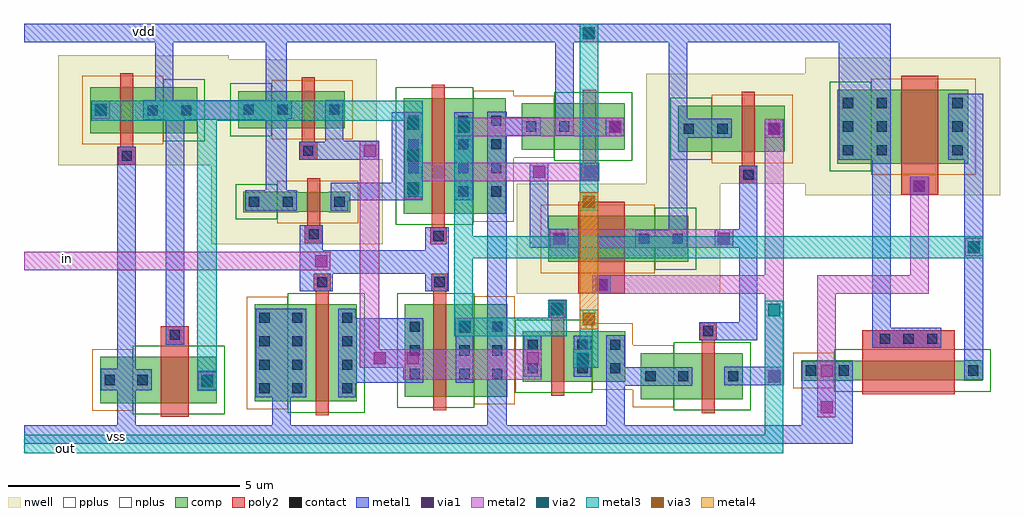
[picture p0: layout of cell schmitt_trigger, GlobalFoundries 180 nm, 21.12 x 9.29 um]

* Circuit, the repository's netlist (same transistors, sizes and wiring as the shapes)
* NGSPICE file created from schmitt_trigger.ext - technology: gf180mcuD

.subckt pfet a_38_n60# a_n92_0# w_n230_n138#
X0 w_n230_n138# a_38_n60# a_n92_0# w_n230_n138# pfet_03v3 ad=1.38p pd=4.76u as=0.65p ps=3.3u w=1u l=1u
.ends

.subckt pfet$6 a_n92_0# a_28_220# w_n230_n138#
X0 w_n230_n138# a_28_220# a_n92_0# w_n230_n138# pfet_03v3 ad=1.104p pd=4.36u as=0.52p ps=2.9u w=0.8u l=0.28u
.ends

.subckt pfet$4 a_n92_0# a_28_260# w_n230_n138#
X0 w_n230_n138# a_28_260# a_n92_0# w_n230_n138# pfet_03v3 ad=1.38p pd=4.76u as=0.65p ps=3.3u w=1u l=0.28u
.ends

.subckt nfet$7 a_30_260# a_n84_0# a_94_0#
X0 a_94_0# a_30_260# a_n84_0# a_94_0# nfet_03v3 ad=1.32p pd=4.64u as=0.61p ps=3.22u w=1u l=0.28u
.ends

.subckt nfet$5 a_n84_0# a_94_0# a_30_460#
X0 a_94_0# a_30_460# a_n84_0# a_94_0# nfet_03v3 ad=2.64p pd=6.64u as=1.22p ps=5.22u w=2u l=0.28u
.ends

.subckt pfet$9 a_38_n60# a_n92_0# w_n230_n138#
X0 w_n230_n138# a_38_n60# a_n92_0# w_n230_n138# pfet_03v3 ad=2.208p pd=5.96u as=1.04p ps=4.5u w=1.6u l=0.8u
.ends

.subckt pfet$7 a_28_144# w_n232_n142# a_n92_n2#
X0 w_n232_n142# a_28_144# a_n92_n2# w_n232_n142# pfet_03v3 ad=0.6034p pd=3.64u as=0.2822p ps=2.18u w=0.42u l=0.28u
.ends

.subckt nfet a_30_280# a_n84_0# a_94_0#
X0 a_94_0# a_30_280# a_n84_0# a_94_0# nfet_03v3 ad=1.452p pd=4.84u as=0.671p ps=3.42u w=1.1u l=0.28u
.ends

.subckt nfet$8 a_38_n60# a_158_0# a_n84_0#
X0 a_158_0# a_38_n60# a_n84_0# a_158_0# nfet_03v3 ad=1.32p pd=4.64u as=0.61p ps=3.22u w=1u l=0.6u
.ends

.subckt nfet$6 a_n84_0# a_94_0# a_30_480#
X0 a_94_0# a_30_480# a_n84_0# a_94_0# nfet_03v3 ad=2.772p pd=6.84u as=1.281p ps=5.42u w=2.1u l=0.28u
.ends

.subckt nfet$10 a_n84_n2# a_38_n60# a_438_0#
X0 a_438_0# a_38_n60# a_n84_n2# a_438_0# nfet_03v3 ad=0.577p pd=3.52u as=0.2646p ps=2.1u w=0.42u l=2u
.ends

.subckt nfet$4 a_32_260# a_98_0# a_n84_0#
X0 a_98_0# a_32_260# a_n84_0# a_98_0# nfet_03v3 ad=1.32p pd=4.64u as=0.61p ps=3.22u w=1u l=0.3u
.ends

.subckt nfet$2 a_30_560# a_n84_0# a_94_0#
X0 a_94_0# a_30_560# a_n84_0# a_94_0# nfet_03v3 ad=3.3p pd=7.64u as=1.525p ps=6.22u w=2.5u l=0.28u
.ends

.subckt schmitt_trigger vss in out
Xpfet_0 out m3_n9961_n6054# vss pfet
Xpfet$6_0 m2_n8799_n7122# m2_n8799_n7122# vss pfet$6
Xpfet$4_0 m3_n9961_n6054# vss vss pfet$4
Xpfet$4_1 out m3_n9961_n6054# vss pfet$4
Xnfet$7_0 m3_n9961_n6054# out vss nfet$7
Xnfet$5_0 m2_n8799_n7122# vss in nfet$5
Xpfet$9_0 vss vss vss pfet$9
Xpfet$7_0 in vss m3_n9961_n6054# pfet$7
Xnfet_0 vss m2_n8799_n7122# vss nfet
Xnfet$8_0 vss vss m3_n9961_n6054# nfet$8
Xnfet$6_0 m2_n8799_n7122# vss in nfet$6
Xnfet$10_0 vss vss vss nfet$10
Xnfet$4_0 m3_n9961_n6054# vss vss nfet$4
Xnfet$2_0 in m3_n9961_n6054# vss nfet$2
.ends

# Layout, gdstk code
from math import pi, radians
import gdstk
lib = gdstk.Library(unit=1e-6, precision=1e-09)
def R(c, l, rs):  # rectangles x0, y0, x1, y1
    for r in rs: c.add(gdstk.rectangle(r[:2], r[2:], *l))
def A(c, l, x, y, w, h, nx, ny, dx, dy):  # array of equal rectangles
    R(c, l, [(x+i*dx, y+j*dy, x+i*dx+w, y+j*dy+h) for i in range(nx) for j in range(ny)])
def P(c, l, *ps):  # polygons
    for p in ps: c.add(gdstk.Polygon(p, *l))
nwell = (21, 0)
comp = (22, 0)
poly2 = (30, 0)
pplus = (31, 0)
nplus = (32, 0)
contact = (33, 0)
metal1 = (34, 0)
via1 = (35, 0)
metal2 = (36, 0)
via2 = (38, 0)
via3 = (40, 0)
metal3 = (42, 0)
metal4 = (46, 0)

pfet_7 = lib.new_cell('pfet$7')
R(pfet_7, nwell, [(-1.16,-0.71,2.55,1.13)])
R(pfet_7, comp, [(-0.46,-0.01,0,0.43), (0.66,-0.01,1.12,0.43), (1.12,-0.01,1.85,0.43), (0,0,0.66,0.42)])
R(pfet_7, poly2, [(0.19,-0.3,0.47,0.72), (0.14,0.72,0.52,1.1)])
R(pfet_7, pplus, [(-0.63,-0.25,1.12,0.67)])
R(pfet_7, nplus, [(1.12,-0.17,2.02,0.59)])
R(pfet_7, contact, [(-0.34,0.1,-0.12,0.32), (0.78,0.1,1,0.32), (1.51,0.1,1.73,0.32), (0.22,0.8,0.44,1.02)])
R(pfet_7, metal1, [(-0.42,0.019,-0.04,0.401), (0.7,0.019,1.08,0.401), (1.43,0.019,1.81,0.401), (0.14,0.719,0.52,1.101)])

via_dev = lib.new_cell('via_dev')

nfet_2 = lib.new_cell('nfet$2')
R(nfet_2, comp, [(-0.42,0,0,2.5), (0,0,0.66,2.5), (0.66,0,1.08,2.5), (1.08,0,1.79,2.5)])
R(nfet_2, poly2, [(0.19,-0.3,0.47,2.8), (0.15,2.8,0.51,3.16)])
R(nfet_2, pplus, [(1.08,-0.17,1.96,2.67)])
R(nfet_2, nplus, [(-0.59,-0.24,1.08,2.74)])
A(nfet_2, contact, -0.32, 0.375, 0.22, 0.22, 1, 4, 0, 0.51)
A(nfet_2, contact, 0.76, 0.375, 0.22, 0.22, 1, 4, 0, 0.51)
A(nfet_2, contact, 1.47, 0.375, 0.22, 0.22, 1, 4, 0, 0.51)
R(nfet_2, contact, [(0.22,2.87,0.44,3.09)])
R(nfet_2, metal1, [(-0.4,0.295,-0.02,2.205), (0.68,0.295,1.06,2.205), (1.39,0.295,1.77,2.205), (0.14,2.789,0.52,3.171)])

nfet_5 = lib.new_cell('nfet$5')
R(nfet_5, comp, [(-0.42,0,0,2), (0,0,0.66,2), (0.66,0,1.08,2), (1.08,0,1.79,2)])
R(nfet_5, poly2, [(0.19,-0.3,0.47,2.3), (0.15,2.3,0.51,2.66)])
R(nfet_5, pplus, [(1.08,-0.17,1.96,2.17)])
R(nfet_5, nplus, [(-0.59,-0.24,1.08,2.24)])
A(nfet_5, contact, -0.32, 0.38, 0.22, 0.22, 1, 3, 0, 0.51)
A(nfet_5, contact, 0.76, 0.38, 0.22, 0.22, 1, 3, 0, 0.51)
A(nfet_5, contact, 1.47, 0.38, 0.22, 0.22, 1, 3, 0, 0.51)
R(nfet_5, contact, [(0.22,2.37,0.44,2.59)])
R(nfet_5, metal1, [(-0.4,0.3,-0.02,1.7), (0.68,0.3,1.06,1.7), (1.39,0.3,1.77,1.7), (0.14,2.289,0.52,2.671)])

nfet_6 = lib.new_cell('nfet$6')
R(nfet_6, comp, [(-0.42,0,0,2.1), (0,0,0.66,2.1), (0.66,0,1.08,2.1), (1.08,0,1.79,2.1)])
R(nfet_6, poly2, [(0.19,-0.3,0.47,2.4), (0.15,2.4,0.51,2.76)])
R(nfet_6, pplus, [(1.08,-0.17,1.96,2.27)])
R(nfet_6, nplus, [(-0.59,-0.24,1.08,2.34)])
A(nfet_6, contact, -0.32, 0.175, 0.22, 0.22, 1, 4, 0, 0.51)
A(nfet_6, contact, 0.76, 0.175, 0.22, 0.22, 1, 4, 0, 0.51)
A(nfet_6, contact, 1.47, 0.175, 0.22, 0.22, 1, 4, 0, 0.51)
R(nfet_6, contact, [(0.22,2.47,0.44,2.69)])
R(nfet_6, metal1, [(-0.4,0.095,-0.02,2.005), (0.68,0.095,1.06,2.005), (1.39,0.095,1.77,2.005), (0.14,2.389,0.52,2.771)])

nfet_4 = lib.new_cell('nfet$4')
R(nfet_4, comp, [(-0.42,0,0,1), (0,0,0.68,1), (0.68,0,1.1,1), (1.1,0,1.81,1)])
R(nfet_4, poly2, [(0.19,-0.3,0.49,1.3), (0.16,1.3,0.52,1.66)])
R(nfet_4, pplus, [(1.1,-0.17,1.98,1.17)])
R(nfet_4, nplus, [(-0.59,-0.24,1.1,1.24)])
R(nfet_4, contact, [(-0.32,0.39,-0.1,0.61), (0.78,0.39,1,0.61), (1.49,0.39,1.71,0.61), (0.23,1.37,0.45,1.59)])
R(nfet_4, metal1, [(-0.4,0.309,-0.02,0.691), (0.7,0.309,1.08,0.691), (1.41,0.309,1.79,0.691), (0.15,1.289,0.53,1.671)])

via_dev_4 = lib.new_cell('via_dev$4')
R(via_dev_4, metal1, [(0,0,0.4,0.4)])
R(via_dev_4, via1, [(0.07,0.07,0.33,0.33)])
R(via_dev_4, metal2, [(0,0,0.4,0.4)])
R(via_dev_4, via2, [(0.07,0.07,0.33,0.33)])
R(via_dev_4, metal3, [(0,0,0.4,0.4)])

pfet_4 = lib.new_cell('pfet$4')
R(pfet_4, nwell, [(-1.15,-0.69,2.54,1.69)])
R(pfet_4, comp, [(-0.46,0,0,1), (0,0,0.66,1), (0.66,0,1.12,1), (1.12,0,1.85,1)])
R(pfet_4, poly2, [(0.19,-0.3,0.47,1.3), (0.14,1.3,0.52,1.68)])
R(pfet_4, pplus, [(-0.63,-0.24,1.12,1.24)])
R(pfet_4, nplus, [(1.12,-0.17,2.02,1.17)])
R(pfet_4, contact, [(-0.34,0.39,-0.12,0.61), (0.78,0.39,1,0.61), (1.51,0.39,1.73,0.61), (0.22,1.38,0.44,1.6)])
R(pfet_4, metal1, [(-0.42,0.309,-0.04,0.691), (0.7,0.309,1.08,0.691), (1.43,0.309,1.81,0.691), (0.14,1.299,0.52,1.681)])

pfet = lib.new_cell('pfet')
R(pfet, nwell, [(-1.15,-0.69,3.26,1.69)])
R(pfet, comp, [(-0.46,0,0,1), (0,0,1.38,1), (1.38,0,1.84,1), (1.84,0,2.57,1)])
R(pfet, poly2, [(0.19,-0.3,1.19,1.3), (0.19,1.3,1.19,1.68)])
R(pfet, pplus, [(-0.63,-0.24,1.84,1.24)])
R(pfet, nplus, [(1.84,-0.17,2.74,1.17)])
R(pfet, contact, [(-0.34,0.39,-0.12,0.61), (1.5,0.39,1.72,0.61), (2.23,0.39,2.45,0.61), (0.58,1.38,0.8,1.6)])
R(pfet, metal1, [(-0.42,0.309,-0.04,0.691), (1.42,0.309,1.8,0.691), (2.15,0.309,2.53,0.691), (0.5,1.299,0.88,1.681)])

nfet = lib.new_cell('nfet')
R(nfet, comp, [(-0.42,0,0,1.1), (0,0,0.66,1.1), (0.66,0,1.08,1.1), (1.08,0,1.79,1.1)])
R(nfet, poly2, [(0.19,-0.3,0.47,1.4), (0.15,1.4,0.51,1.76)])
R(nfet, pplus, [(1.08,-0.17,1.96,1.27)])
R(nfet, nplus, [(-0.59,-0.24,1.08,1.34)])
R(nfet, contact, [(-0.32,0.185,-0.1,0.405), (0.76,0.185,0.98,0.405), (1.47,0.185,1.69,0.405), (-0.32,0.695,-0.1,0.915), (0.76,0.695,0.98,0.915), (1.47,0.695,1.69,0.915), (0.22,1.47,0.44,1.69)])
R(nfet, metal1, [(-0.4,0.105,-0.02,0.995), (0.68,0.105,1.06,0.995), (1.39,0.105,1.77,0.995), (0.14,1.389,0.52,1.771)])

via_dev_3 = lib.new_cell('via_dev$3')
R(via_dev_3, metal1, [(0,0,0.4,0.4)])
R(via_dev_3, via1, [(0.07,0.07,0.33,0.33)])
R(via_dev_3, metal2, [(0,0,0.4,0.4)])

via_dev_6 = lib.new_cell('via_dev$6')
R(via_dev_6, metal2, [(0,0,0.4,0.4)])
R(via_dev_6, via2, [(0.07,0.07,0.33,0.33)])
R(via_dev_6, metal3, [(0,0,0.4,0.4)])

nfet_7 = lib.new_cell('nfet$7')
R(nfet_7, comp, [(-0.42,0,0,1), (0,0,0.66,1), (0.66,0,1.08,1), (1.08,0,1.79,1)])
R(nfet_7, poly2, [(0.19,-0.3,0.47,1.3), (0.15,1.3,0.51,1.66)])
R(nfet_7, pplus, [(1.08,-0.17,1.96,1.17)])
R(nfet_7, nplus, [(-0.59,-0.24,1.08,1.24)])
R(nfet_7, contact, [(-0.32,0.39,-0.1,0.61), (0.76,0.39,0.98,0.61), (1.47,0.39,1.69,0.61), (0.22,1.37,0.44,1.59)])
R(nfet_7, metal1, [(-0.4,0.309,-0.02,0.691), (0.68,0.309,1.06,0.691), (1.39,0.309,1.77,0.691), (0.14,1.289,0.52,1.671)])

pfet_6 = lib.new_cell('pfet$6')
R(pfet_6, nwell, [(-1.15,-0.69,2.54,1.49)])
R(pfet_6, comp, [(-0.46,0,0,0.8), (0,0,0.66,0.8), (0.66,0,1.12,0.8), (1.12,0,1.85,0.8)])
R(pfet_6, poly2, [(0.19,-0.3,0.47,1.1), (0.14,1.1,0.52,1.48)])
R(pfet_6, pplus, [(-0.63,-0.24,1.12,1.04)])
R(pfet_6, nplus, [(1.12,-0.17,2.02,0.97)])
R(pfet_6, contact, [(-0.34,0.29,-0.12,0.51), (0.78,0.29,1,0.51), (1.51,0.29,1.73,0.51), (0.22,1.18,0.44,1.4)])
R(pfet_6, metal1, [(-0.42,0.209,-0.04,0.591), (0.7,0.209,1.08,0.591), (1.43,0.209,1.81,0.591), (0.14,1.099,0.52,1.481)])

nfet_8 = lib.new_cell('nfet$8')
R(nfet_8, comp, [(-0.42,0,0,1), (0,0,0.98,1), (0.98,0,1.4,1), (1.4,0,2.11,1)])
R(nfet_8, poly2, [(0.19,-0.3,0.79,1.3), (0.19,1.3,0.79,1.66)])
R(nfet_8, pplus, [(1.4,-0.17,2.28,1.17)])
R(nfet_8, nplus, [(-0.59,-0.24,1.4,1.24)])
R(nfet_8, contact, [(-0.32,0.39,-0.1,0.61), (1.08,0.39,1.3,0.61), (1.79,0.39,2.01,0.61), (0.38,1.37,0.6,1.59)])
R(nfet_8, metal1, [(-0.4,0.309,-0.02,0.691), (1,0.309,1.38,0.691), (1.71,0.309,2.09,0.691), (0.3,1.289,0.68,1.671)])

pfet_9 = lib.new_cell('pfet$9')
R(pfet_9, nwell, [(-1.15,-0.69,3.06,2.29)])
R(pfet_9, comp, [(-0.46,0,0,1.6), (0,0,1.18,1.6), (1.18,0,1.64,1.6), (1.64,0,2.37,1.6)])
R(pfet_9, poly2, [(0.19,-0.3,0.99,1.9), (0.19,1.9,0.99,2.28)])
R(pfet_9, pplus, [(-0.63,-0.24,1.64,1.84)])
R(pfet_9, nplus, [(1.64,-0.17,2.54,1.77)])
A(pfet_9, contact, -0.34, 0.18, 0.22, 0.22, 1, 3, 0, 0.51)
A(pfet_9, contact, 1.3, 0.18, 0.22, 0.22, 1, 3, 0, 0.51)
A(pfet_9, contact, 2.03, 0.18, 0.22, 0.22, 1, 3, 0, 0.51)
R(pfet_9, contact, [(0.48,1.98,0.7,2.2)])
R(pfet_9, metal1, [(-0.42,0.1,-0.04,1.5), (1.22,0.1,1.6,1.5), (1.95,0.1,2.33,1.5), (0.4,1.899,0.78,2.281)])

nfet_10 = lib.new_cell('nfet$10')
R(nfet_10, comp, [(-0.42,-0.01,0,0.43), (2.38,-0.01,2.8,0.43), (2.8,-0.01,3.51,0.43), (0,0,2.38,0.42)])
R(nfet_10, poly2, [(0.19,-0.3,2.19,0.72), (0.19,0.72,2.19,1.08)])
R(nfet_10, pplus, [(2.8,-0.17,3.68,0.59)])
R(nfet_10, nplus, [(-0.59,-0.25,2.8,0.67)])
A(nfet_10, contact, 0.57, 0.79, 0.22, 0.22, 3, 1, 0.51, 0)
R(nfet_10, contact, [(-0.32,0.1,-0.1,0.32), (2.48,0.1,2.7,0.32), (3.19,0.1,3.41,0.32)])
R(nfet_10, metal1, [(-0.4,0.019,-0.02,0.401), (2.4,0.019,2.78,0.401), (3.11,0.019,3.49,0.401), (0.49,0.71,1.89,1.09)])

via_dev_7 = lib.new_cell('via_dev$7')
R(via_dev_7, via3, [(0.07,0.07,0.33,0.33)])
R(via_dev_7, metal3, [(0,0,0.4,0.4)])
R(via_dev_7, metal4, [(0,0,0.4,0.4)])

schmitt_trigger = lib.new_cell('schmitt_trigger')
R(schmitt_trigger, metal1, [(-47.52,-36.11,-47.09,-35.675), (-36.11,-35.995,-34.825,-35.595), (-38.96,-34.01,-38.57,-33.62), (-41.95,-31.99,-41.54,-30.08), (-32.075,-31.88,-31.685,-31.49), (-39.22,-31.575,-38.81,-31.175)])
P(schmitt_trigger, metal1, [(-32.91,-35.18),(-32.91,-31.11),(-33.635,-31.11),(-33.635,-28.57),(-36.91,-28.57),(-36.91,-30.23),(-35.945,-30.23),(-35.945,-30.64),(-36.91,-30.64),(-36.91,-33.02),(-38.035,-33.02),(-38.035,-32.63),(-37.31,-32.63),(-37.31,-28.57),(-39.37,-28.57),(-39.37,-30.59),(-39.77,-30.59),(-39.77,-28.57),(-45.58,-28.57),(-45.58,-29.835),(-45.475,-29.835),(-45.475,-30.23),(-45.58,-30.23),(-45.58,-31.775),(-45.36,-31.775),(-45.36,-32.22),(-46.48,-32.22),(-46.48,-31.775),(-46.03,-31.775),(-46.03,-30.245),(-47.8,-30.245),(-47.8,-35.12),(-48.195,-35.12),(-48.195,-30.245),(-48.68,-30.245),(-48.68,-29.83),(-48.425,-29.83),(-48.425,-28.57),(-48.03,-28.57),(-48.03,-29.83),(-46.03,-29.83),(-46.03,-28.57),(-51.265,-28.57),(-51.265,-28.17),(-32.5,-28.17),(-32.5,-34.75),(-31.415,-34.75),(-31.415,-35.18)],
  [(-45.495,-37.265),(-45.495,-37.26),(-51.265,-37.26),(-51.265,-36.86),(-49.245,-36.86),(-49.245,-36.1),(-49.6,-36.1),(-49.6,-35.64),(-49.245,-35.64),(-49.245,-30.835),(-48.845,-30.835),(-48.845,-35.645),(-48.5,-35.645),(-48.5,-36.1),(-48.845,-36.1),(-48.845,-36.86),(-45.89,-36.86),(-45.89,-36.25),(-46.25,-36.25),(-46.25,-34.34),(-45.16,-34.34),(-45.16,-36.25),(-45.49,-36.25),(-45.49,-36.865),(-41.24,-36.865),(-41.24,-30.07),(-40.82,-30.07),(-40.82,-30.195),(-40.085,-30.195),(-40.085,-30.595),(-40.82,-30.595),(-40.82,-36.865),(-38.66,-36.865),(-38.66,-34.915),(-38.26,-34.915),(-38.26,-35.6),(-36.805,-35.6),(-36.805,-36.01),(-38.26,-36.01),(-38.26,-36.865),(-34.43,-36.865),(-34.43,-35.47),(-33.325,-35.47),(-33.325,-37.265)],
  [(-45.3,-33.96),(-45.3,-32.53),(-44.8,-32.53),(-44.8,-33.07),(-42.585,-33.07),(-42.585,-32.57),(-42.075,-32.57),(-42.075,-33.955),(-42.585,-33.955),(-42.585,-33.58),(-44.585,-33.58),(-44.585,-33.96)],
  [(-30.915,-35.875),(-30.915,-31.115),(-31.26,-31.115),(-31.26,-29.685),(-30.505,-29.685),(-30.505,-35.875)],
  [(-36.65,-35.015),(-36.65,-34.625),(-35.78,-34.625),(-35.78,-33.02),(-36.315,-33.02),(-36.315,-32.62),(-35.78,-32.62),(-35.78,-31.24),(-35.39,-31.24),(-35.39,-35.015)],
  [(-40.315,-33.02),(-40.315,-31.18),(-39.915,-31.18),(-39.915,-32.605),(-39.485,-32.605),(-39.485,-33.02)],
  [(-45.305,-31.115),(-45.305,-30.725),(-44.745,-30.725),(-44.745,-29.83),(-44.355,-29.83),(-44.355,-30.7),(-43.585,-30.7),(-43.585,-31.115)],
  [(-44.625,-32.22),(-44.625,-31.615),(-43.305,-31.615),(-43.305,-30.08),(-42.645,-30.08),(-42.645,-31.99),(-44.245,-31.99),(-44.245,-32.22)],
  [(-44.095,-35.94),(-44.095,-34.565),(-44.105,-34.565),(-44.105,-34.54),(-43,-34.54),(-43,-35.94)])
R(schmitt_trigger, metal2, [(-51.265,-33.505,-44.635,-33.105), (-39.885,-33.02,-36.195,-32.62), (-41.95,-30.6,-38.27,-30.2)])
P(schmitt_trigger, metal2, [(-34.095,-36.69),(-34.095,-33.61),(-32.085,-33.61),(-32.085,-31.815),(-31.685,-31.815),(-31.685,-34.01),(-33.695,-34.01),(-33.695,-36.69)],
  [(-35.235,-35.995),(-35.235,-34.015),(-38.965,-34.015),(-38.965,-33.615),(-35.235,-33.615),(-35.235,-30.24),(-34.825,-30.24),(-34.825,-35.995)],
  [(-43.055,-35.87),(-43.055,-35.61),(-43.995,-35.61),(-43.995,-30.71),(-43.58,-30.71),(-43.58,-35.21),(-40.055,-35.21),(-40.055,-35.87)],
  [(-43.035,-31.97),(-43.035,-30.07),(-42.635,-30.07),(-42.635,-31.175),(-38.81,-31.175),(-38.81,-31.575),(-42.635,-31.575),(-42.635,-31.97)])
R(schmitt_trigger, metal3, [(-39.24,-32.22,-38.84,-28.17)])
P(schmitt_trigger, metal3, [(-51.265,-37.465),(-51.265,-37.065),(-35.23,-37.065),(-35.23,-34.165),(-34.83,-34.165),(-34.83,-37.465)],
  [(-39.375,-35.615),(-39.375,-35.215),(-39.24,-35.215),(-39.24,-34.355),(-38.84,-34.355),(-38.84,-35.615)],
  [(-41.95,-34.93),(-41.95,-30.27),(-41.55,-30.27),(-41.55,-32.77),(-30.505,-32.77),(-30.505,-33.245),(-41.55,-33.245),(-41.55,-34.53),(-39.92,-34.53),(-39.92,-34.14),(-39.52,-34.14),(-39.52,-34.93)],
  [(-47.52,-36.11),(-47.52,-30.27),(-49.805,-30.27),(-49.805,-29.835),(-42.635,-29.835),(-42.635,-31.93),(-43.035,-31.93),(-43.035,-30.27),(-47.09,-30.27),(-47.09,-36.11)])
R(schmitt_trigger, metal4, [(-39.24,-34.785,-38.84,-31.82)])
schmitt_trigger.add(gdstk.Reference(pfet_7, (-44.665,-31.815), rotation=pi))
schmitt_trigger.add(gdstk.Reference(via_dev, (-38.52,-31.685)))
schmitt_trigger.add(gdstk.Reference(nfet_2, (-42.625,-29.785), x_reflection=True))
schmitt_trigger.add(gdstk.Reference(nfet_5, (-42.6,-36.24)))
schmitt_trigger.add(gdstk.Reference(nfet_6, (-44.48,-36.345), rotation=pi, x_reflection=True))
schmitt_trigger.add(gdstk.Reference(nfet_4, (-38.685,-29.895), rotation=pi))
r = gdstk.Reference(via_dev_4, (-43.035,-31.93)); r.repetition = gdstk.Repetition(1, 3, v1=(0,0), v2=(0,0.7)); schmitt_trigger.add(r)
schmitt_trigger.add(gdstk.Reference(pfet_4, (-35.255,-29.945), rotation=pi))
schmitt_trigger.add(gdstk.Reference(pfet, (-39.455,-32.325), x_reflection=True))
schmitt_trigger.add(gdstk.Reference(nfet, (-40.045,-35.92)))
schmitt_trigger.add(gdstk.Reference(via_dev_3, (-39.21,-31.575)))
r = gdstk.Reference(via_dev_3, (-41.95,-30.6)); r.repetition = gdstk.Repetition(2, 1, v1=(3.28,0), v2=(0,0)); schmitt_trigger.add(r)
r = gdstk.Reference(via_dev_4, (-39.92,-34.54)); r.repetition = gdstk.Repetition(1, 1, v1=(0,0), v2=(0,0)); schmitt_trigger.add(r)
r = gdstk.Reference(via_dev_3, (-43.055,-35.61)); r.repetition = gdstk.Repetition(2, 1, v1=(2.6,0), v2=(0,0)); schmitt_trigger.add(r)
r = gdstk.Reference(via_dev_4, (-39.375,-35.615)); r.repetition = gdstk.Repetition(1, 1, v1=(0,0), v2=(0,0)); schmitt_trigger.add(r)
schmitt_trigger.add(gdstk.Reference(via_dev_6, (-41.95,-30.6)))
r = gdstk.Reference(via_dev_4, (-39.24,-28.57)); r.repetition = gdstk.Repetition(1, 1, v1=(0,0), v2=(0,0)); schmitt_trigger.add(r)
schmitt_trigger.add(gdstk.Reference(via_dev_4, (-41.93,-34.93)))
schmitt_trigger.add(gdstk.Reference(via_dev_3, (-40.315,-31.575)))
schmitt_trigger.add(gdstk.Reference(via_dev_3, (-35.23,-30.64)))
schmitt_trigger.add(gdstk.Reference(via_dev_3, (-35.225,-35.995)))
schmitt_trigger.add(gdstk.Reference(nfet_7, (-36.125,-36.3), rotation=pi, x_reflection=True))
schmitt_trigger.add(gdstk.Reference(via_dev_3, (-38.965,-34.015)))
schmitt_trigger.add(gdstk.Reference(via_dev_3, (-39.885,-33.02)))
schmitt_trigger.add(gdstk.Reference(via_dev_3, (-35.915,-32.62), rotation=pi))
schmitt_trigger.add(gdstk.Reference(pfet_6, (-44.78,-29.63), rotation=pi))
schmitt_trigger.add(gdstk.Reference(via_dev_3, (-43.585,-30.715), rotation=pi))
schmitt_trigger.add(gdstk.Reference(via_dev_3, (-43.365,-35.21), rotation=pi))
schmitt_trigger.add(gdstk.Reference(pfet_4, (-49.37,-29.54), x_reflection=True))
schmitt_trigger.add(gdstk.Reference(via_dev_4, (-49.405,-29.835), rotation=pi))
schmitt_trigger.add(gdstk.Reference(nfet_8, (-47.51,-36.38), rotation=pi, x_reflection=True))
schmitt_trigger.add(gdstk.Reference(via_dev_4, (-47.095,-35.705), rotation=pi))
schmitt_trigger.add(gdstk.Reference(via_dev_3, (-44.635,-33.105), rotation=pi))
schmitt_trigger.add(gdstk.Reference(pfet_9, (-31.29,-29.595), rotation=pi))
schmitt_trigger.add(gdstk.Reference(nfet_10, (-30.93,-35.885), rotation=pi, x_reflection=True))
schmitt_trigger.add(gdstk.Reference(via_dev_4, (-30.505,-32.805), rotation=pi))
schmitt_trigger.add(gdstk.Reference(via_dev_3, (-31.685,-31.485), rotation=pi))
r = gdstk.Reference(via_dev_3, (-33.695,-35.485), rotation=pi); r.repetition = gdstk.Repetition(1, 2, v1=(0,0), v2=(0,-0.79)); schmitt_trigger.add(r)
schmitt_trigger.add(gdstk.Reference(via_dev_6, (-34.83,-34.165), rotation=pi))
schmitt_trigger.add(gdstk.Reference(via_dev_7, (-39.24,-32.22)))
schmitt_trigger.add(gdstk.Reference(via_dev_7, (-39.24,-34.76)))
schmitt_trigger.add(gdstk.Label('vdd', (-48.655,-28.33), layer=34, texttype=10))
schmitt_trigger.add(gdstk.Label('vss', (-49.255,-37.095), layer=34, texttype=10))
schmitt_trigger.add(gdstk.Label('in', (-50.325,-33.26), layer=36, texttype=10))
schmitt_trigger.add(gdstk.Label('out', (-50.36,-37.37), layer=42, texttype=10))

lib.write_gds('schmitt_trigger.gds')
